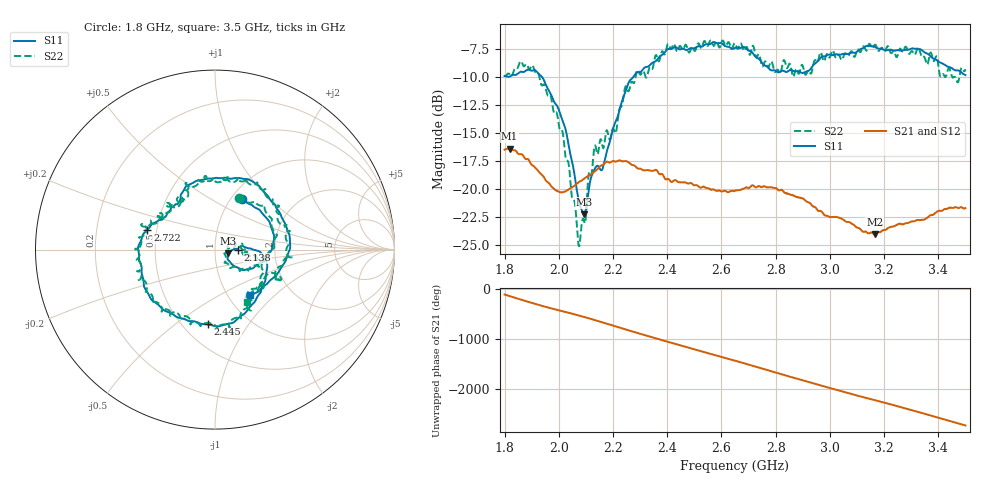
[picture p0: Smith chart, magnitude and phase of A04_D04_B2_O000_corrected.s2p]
! Created with skrf 1.9.0 (http://scikit-rf.org).
# Hz S RI R 50.0
!freq ReS11 ImS11 ReS21 ImS21 ReS12 ImS12 ReS22 ImS22
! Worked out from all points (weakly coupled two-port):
!   1601 points, 1.8 GHz to 3.5 GHz, reference 50 ohm
!   highest |S21| = -16.39 dB at 1.818 GHz (marker M1); lowest = -24.0 dB at 3.165 GHz (marker M2)
!   lowest |S11| = -22.3 dB at 2.093 GHz (marker M3), VSWR 1.17, Z = 58 - j2.47 ohm
!   |S11| at or under -10 dB: 1.810172 GHz to 1.817451 GHz (7.279 MHz wide, 0.401 % of centre); 1.937 GHz to 2.276 GHz (338.8 MHz wide, 16.1 % of centre)
!   |S22| runs from -25.1 to -6.8 dB; largest |S21 - S12| = 0.0026
!   S11 on the Smith chart (normalised r, x): 1.8 GHz: 1.13, +0.70; 2.138 GHz: 1.29, -0.01; 2.445 GHz: 0.66, -0.66; 2.722 GHz: 0.44, +0.11; 3.5 GHz: 1.26, -0.72
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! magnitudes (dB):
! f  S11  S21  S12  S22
! 1.8 GHz  -9.9  -16.5  -16.5  -9.9
! 1.818 GHz  -10.0  -16.4  -16.4  -9.8
! 1.903 GHz  -9.5  -17.9  -17.9  -9.0
! 1.968 GHz  -11.4  -19.6  -19.6  -11.6
! 2.023 GHz  -14.5  -20.2  -20.2  -16.8
! 2.071 GHz  -20.7  -19.4  -19.5  -24.6
! 2.084 GHz  -21.8  -19.2  -19.2  -23.2
! 2.093 GHz  -22.3  -19.1  -19.1  -22.8
! 2.138 GHz  -18.0  -18.3  -18.3  -16.4
! 2.163 GHz  -18.0  -17.8  -17.8  -16.3
! 2.209 GHz  -14.0  -17.6  -17.5  -15.0
! 2.26 GHz  -10.4  -17.7  -17.7  -11.2
! 2.367 GHz  -8.3  -18.5  -18.5  -8.6
! 2.445 GHz  -7.6  -19.4  -19.4  -7.3
! 2.65 GHz  -7.4  -20.1  -20.1  -7.0
! 2.722 GHz  -8.1  -19.8  -19.7  -7.7
! 2.802 GHz  -9.5  -19.9  -19.9  -9.5
! 2.934 GHz  -9.1  -21.4  -21.4  -9.5
! 3.165 GHz  -7.3  -24.0  -24.0  -7.2
! 3.217 GHz  -7.6  -23.4  -23.4  -7.4
! 3.468 GHz  -9.4  -21.6  -21.6  -10.4
! 3.5 GHz  -9.9  -21.7  -21.7  -9.3
